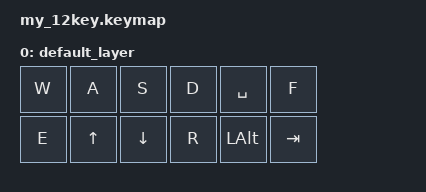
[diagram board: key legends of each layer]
#include <behaviors.dtsi>
#include <dt-bindings/zmk/kscan_mock.h>

/ {
    keymap {
        compatible = "zmk,keymap";
        label ="Default";
        default_layer {
            bindings = <
                &kp W  &kp A  &kp S  &kp D  &kp SPACE &kp F
                &kp E  &kp UP &kp DOWN &kp R &kp LALT &kp TAB
            >;
        };
    };
};
